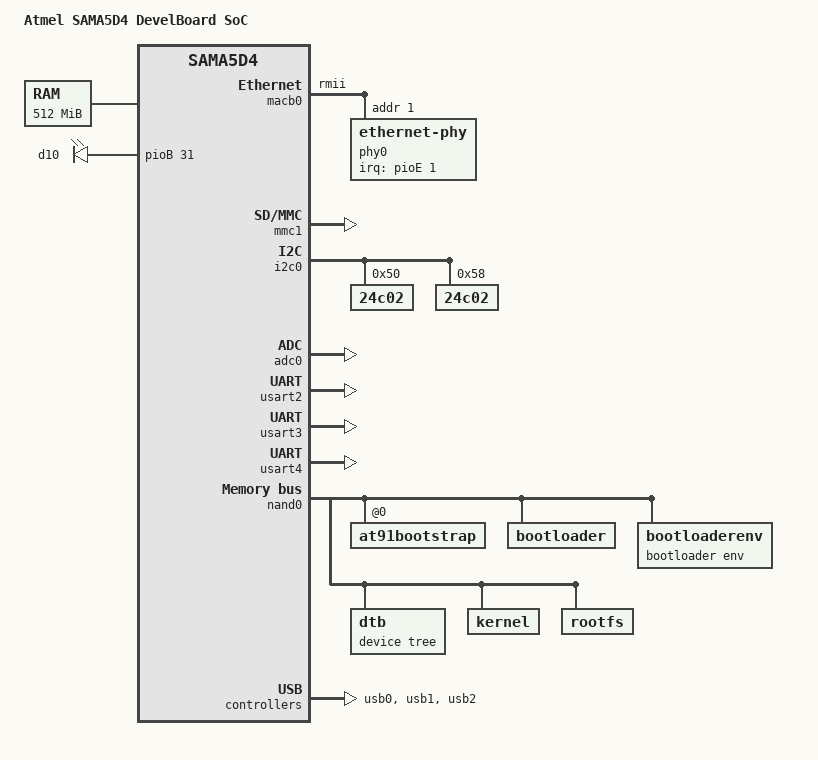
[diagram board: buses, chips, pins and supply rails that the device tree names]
/*
 * at91-sama5d4_develboard.dtsi - Device Tree file for SAMA5D4 DevelBoard SoC
 *
 *  Copyright (C) 2015 Develer,
 *                2015 Mirko Damiani <mirko@develer.com>
 *
 * This file is dual-licensed: you can use it either under the terms
 * of the GPL or the X11 license, at your option. Note that this dual
 * licensing only applies to this file, and not this project as a
 * whole.
 *
 *  a) This file is free software; you can redistribute it and/or
 *     modify it under the terms of the GNU General Public License as
 *     published by the Free Software Foundation; either version 2 of the
 *     License, or (at your option) any later version.
 *
 *     This file is distributed in the hope that it will be useful,
 *     but WITHOUT ANY WARRANTY; without even the implied warranty of
 *     MERCHANTABILITY or FITNESS FOR A PARTICULAR PURPOSE.  See the
 *     GNU General Public License for more details.
 *
 * Or, alternatively,
 *
 *  b) Permission is hereby granted, free of charge, to any person
 *     obtaining a copy of this software and associated documentation
 *     files (the "Software"), to deal in the Software without
 *     restriction, including without limitation the rights to use,
 *     copy, modify, merge, publish, distribute, sublicense, and/or
 *     sell copies of the Software, and to permit persons to whom the
 *     Software is furnished to do so, subject to the following
 *     conditions:
 *
 *     The above copyright notice and this permission notice shall be
 *     included in all copies or substantial portions of the Software.
 *
 *     THE SOFTWARE IS PROVIDED "AS IS", WITHOUT WARRANTY OF ANY KIND,
 *     EXPRESS OR IMPLIED, INCLUDING BUT NOT LIMITED TO THE WARRANTIES
 *     OF MERCHANTABILITY, FITNESS FOR A PARTICULAR PURPOSE AND
 *     NONINFRINGEMENT. IN NO EVENT SHALL THE AUTHORS OR COPYRIGHT
 *     HOLDERS BE LIABLE FOR ANY CLAIM, DAMAGES OR OTHER LIABILITY,
 *     WHETHER IN AN ACTION OF CONTRACT, TORT OR OTHERWISE, ARISING
 *     FROM, OUT OF OR IN CONNECTION WITH THE SOFTWARE OR THE USE OR
 *     OTHER DEALINGS IN THE SOFTWARE.
 */
/dts-v1/;
#include "sama5d4.dtsi"

/ {
	model = "Atmel SAMA5D4 DevelBoard SoC";
	compatible = "atmel,sama5d4-develboard", "atmel,sama5d4", "atmel,sama5";

	chosen {
		bootargs = "console=ttyS0,115200";
	};

	memory {
		reg = <0x20000000 0x20000000>;
	};

	clocks {
		#address-cells = <1>;
		#size-cells = <1>;
		ranges;

		main_clock: clock@0 {
			compatible = "atmel,osc", "fixed-clock";
			clock-frequency = <12000000>;
		};

		slow_xtal {
			clock-frequency = <32768>;
		};

		main_xtal {
			clock-frequency = <12000000>;
		};
	};

	ahb {
		apb {
			macb0: ethernet@f8020000 {
				phy-mode = "rmii";
				status = "okay";

				phy0: ethernet-phy@1 {
					interrupt-parent = <&pioE>;
					interrupts = <1 IRQ_TYPE_EDGE_FALLING>;
					reg = <1>;
				};
			};

			mmc1: mmc@fc000000 {
				pinctrl-names = "default";
				pinctrl-0 = <&pinctrl_mmc1_clk_cmd_dat0 &pinctrl_mmc1_dat1_3>;
				status = "okay";
				slot@0 {
					reg = <0>;
					bus-width = <4>;
				};
			};

			i2c0: i2c@f8014000 {
				status = "okay";

				/**
				 * AT24MAC402 Standard 2-Kbit EEPROM
				 * First half address range: 0x00-0x7F
				 * Second half address range: 0x80-0xFF
				 */
				24c02@50 {
					compatible = "24c02";
					reg = <0x50>;
					pagesize = <16>;
					read-only;
				};

				/**
				 * AT24MAC402 Extended Memory
				 * 128-bit Serial Number: 0x80-0x8F (16 bytes)
				 * EUI-48 Value: 0x9A-0x9F (6 bytes)
				 * EUI-64 Value: 0x98-0x9F (8 bytes)
				 */
				24c02@58 {
					compatible = "24c02";
					reg = <0x58>;
					pagesize = <1>;
					read-only;
				};
			};

			adc0: adc@fc034000 {
				atmel,adc-vref = <3300>;
				status = "okay";
			};

			usart2: serial@fc008000 {
				status = "okay";
			};

			usart3: serial@fc00c000 {
				status = "okay";
			};

			usart4: serial@fc010000 {
				status = "okay";
			};

			watchdog@fc068640 {
				status = "okay";
			};

			pinctrl@fc06a000 {
				mmc0 {
					pinctrl_mmc0_clk_cmd_dat: mmc0_clk_cmd_dat {
						atmel,pins = <
							AT91_PIOC 4 AT91_PERIPH_B AT91_PINCTRL_NONE     /* MCI0_CK */
							AT91_PIOE 0 AT91_PERIPH_B AT91_PINCTRL_PULL_UP  /* MCI0_CDB */
							AT91_PIOE 1 AT91_PERIPH_B AT91_PINCTRL_PULL_UP  /* MCI0_DB0 */
							AT91_PIOE 2 AT91_PERIPH_B AT91_PINCTRL_PULL_UP  /* MCI0_DB1 */
							AT91_PIOE 3 AT91_PERIPH_B AT91_PINCTRL_PULL_UP  /* MCI0_DB2 */
							AT91_PIOE 4 AT91_PERIPH_B AT91_PINCTRL_PULL_UP  /* MCI0_DB3 */
						>;
					};
				};
				usb1 {
					pinctrl_usb1_ovcur: usb1_ovcur {
						atmel,pins = <
							AT91_PIOE 12 AT91_PERIPH_GPIO AT91_PINCTRL_PULL_UP /* USB_OVCUR */
						>;
					};
				};
			};
		};

		nand0: nand@80000000 {
			nand-bus-width = <8>;
			nand-ecc-mode = "hw";
			nand-on-flash-bbt;
			atmel,has-pmecc;
			status = "okay";

			at91bootstrap@0 {
				label = "at91bootstrap";
				reg = <0x0 0x40000>;
			};

			bootloader@40000 {
				label = "bootloader";
				reg = <0x40000 0x80000>;
			};

			bootloaderenv@c0000 {
				label = "bootloader env";
				reg = <0xc0000 0xc0000>;
			};

			dtb@180000 {
				label = "device tree";
				reg = <0x180000 0x80000>;
			};

			kernel@200000 {
				label = "kernel";
				reg = <0x200000 0x600000>;
			};

			rootfs@800000 {
				label = "rootfs";
				reg = <0x800000 0x0f800000>;
			};
		};

		usb0: gadget@00400000 {
			status = "okay";
		};

		usb1: ohci@00500000 {
			pinctrl-names = "default";
			pinctrl-0 = <&pinctrl_usb1_ovcur>;
			num-ports = <3>;
			atmel,vbus-gpio = <0
				&pioE 11 GPIO_ACTIVE_HIGH
				&pioE 14 GPIO_ACTIVE_HIGH
			>;
			atmel,oc-gpio = <&pioE 12 GPIO_ACTIVE_LOW>;
			status = "okay";
		};

		usb2: ehci@00600000 {
			status = "okay";
		};
	};

	leds {
		compatible = "gpio-leds";
		status = "okay";

		d10 {
			label = "d10";
			gpios = <&pioB 31 GPIO_ACTIVE_HIGH>;
			linux,default-trigger = "heartbeat";
		};
	};
};
